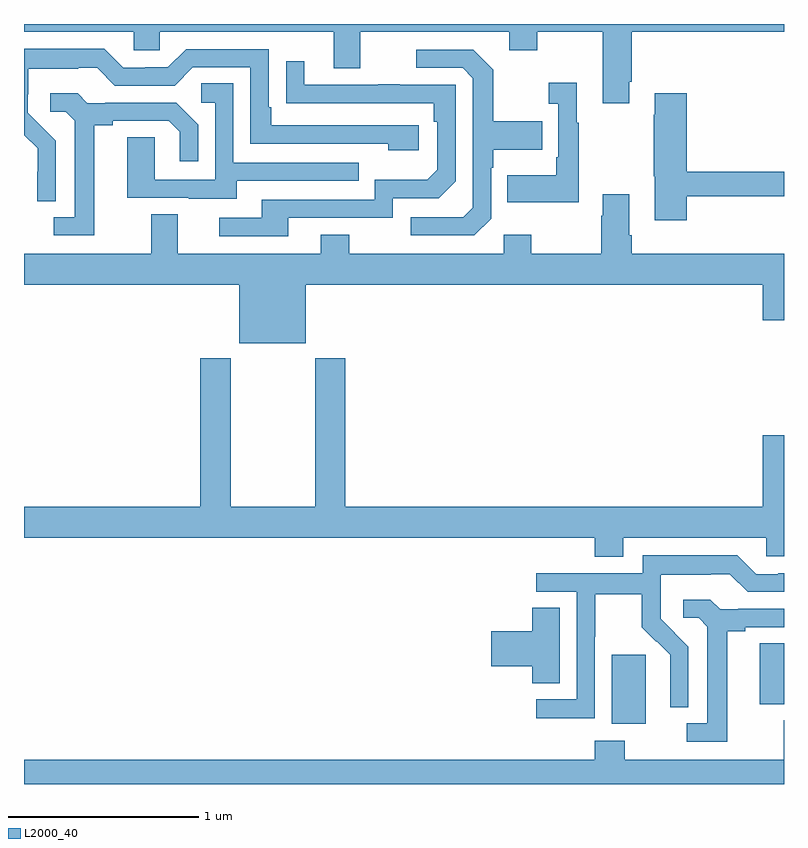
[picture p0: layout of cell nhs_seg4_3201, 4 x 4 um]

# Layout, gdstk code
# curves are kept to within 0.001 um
import gdstk
lib = gdstk.Library(unit=1e-6, precision=1e-09)
def R(c, l, rs):  # rectangles x0, y0, x1, y1
    for r in rs: c.add(gdstk.rectangle(r[:2], r[2:], *l))
def P(c, l, *ps):  # polygons
    for p in ps: c.add(gdstk.Polygon(p, *l))
L2000_40 = (2000, 40)

nhs_seg4_3201 = lib.new_cell('nhs_seg4_3201')
R(nhs_seg4_3201, L2000_40, [(284.093,753.218,284.272,753.579), (284.873,753.321,285,753.641)])
P(nhs_seg4_3201, L2000_40, [(284.185,756.595),(284.198,756.595),(284.198,756.86),(285,756.86),(285,756.9),(281,756.9),(281,756.86),(281.577,756.86),(281.577,756.762),(281.715,756.762),(281.715,756.86),(282.629,756.86),(282.629,756.666),(282.769,756.666),(282.769,756.86),(283.553,756.86),(283.553,756.761),(283.701,756.761),(283.701,756.86),(284.045,756.86),(284.045,756.483),(284.185,756.483)],
  [(281.166,756.286),(281.02,756.434),(281.02,756.531),(281.022,756.531),(281.022,756.665),(281.285,756.665),(281.285,756.669),(281.385,756.669),(281.478,756.576),(281.793,756.576),(281.889,756.672),(282.192,756.672),(282.192,756.27),(282.917,756.27),(282.917,756.236),(283.078,756.236),(283.078,756.366),(282.301,756.366),(282.301,756.463),(282.288,756.463),(282.288,756.768),(281.853,756.768),(281.757,756.672),(281.639,756.672),(281.639,756.669),(281.523,756.669),(281.423,756.769),(281,756.769),(281,756.314),(281.001,756.315),(281.072,756.245),(281.072,756.122),(281.07,756.122),(281.07,755.968),(281.166,755.968)],
  [(283.458,755.874),(283.458,756.143),(283.471,756.143),(283.471,756.239),(283.727,756.239),(283.727,756.387),(283.471,756.387),(283.471,756.659),(283.365,756.765),(283.065,756.765),(283.065,756.669),(283.308,756.669),(283.362,756.615),(283.362,755.934),(283.311,755.883),(283.035,755.883),(283.035,755.787),(283.371,755.787)],
  [(282.391,755.88),(282.942,755.88),(282.942,755.982),(283.182,755.982),(283.272,756.072),(283.272,756.579),(282.977,756.579),(282.977,756.584),(282.865,756.584),(282.865,756.579),(282.475,756.579),(282.475,756.703),(282.379,756.703),(282.379,756.484),(283.156,756.483),(283.156,756.386),(283.176,756.386),(283.176,756.132),(283.123,756.079),(282.846,756.079),(282.846,755.976),(282.251,755.976),(282.251,755.88),(282.027,755.88),(282.027,755.784),(282.391,755.784)],
  [(283.921,756.379),(283.909,756.379),(283.909,756.592),(283.761,756.592),(283.761,756.479),(283.812,756.479),(283.812,756.199),(283.8,756.199),(283.8,756.103),(283.543,756.103),(283.543,755.963),(283.921,755.963)],
  [(282.121,756.075),(282.761,756.075),(282.761,756.171),(282.102,756.171),(282.102,756.587),(281.934,756.587),(281.934,756.486),(282.006,756.486),(282.006,756.081),(281.688,756.081),(281.688,756.305),(281.543,756.305),(281.543,755.985),(281.867,755.985),(281.867,755.981),(282.121,755.981)],
  [(284.489,755.994),(285,755.994),(285,756.122),(284.489,756.122),(284.489,756.535),(284.321,756.535),(284.321,756.422),(284.314,756.422),(284.314,756.099),(284.321,756.099),(284.321,755.868),(284.489,755.868)],
  [(281.371,756.368),(281.467,756.368),(281.467,756.39),(281.762,756.39),(281.819,756.333),(281.819,756.177),(281.916,756.177),(281.916,756.37),(281.8,756.486),(281.428,756.486),(281.428,756.483),(281.334,756.483),(281.282,756.535),(281.139,756.535),(281.139,756.438),(281.22,756.438),(281.267,756.391),(281.267,755.883),(281.157,755.883),(281.157,755.787),(281.371,755.787)],
  [(282.484,755.528),(284.888,755.528),(284.888,755.34),(285,755.34),(285,755.692),(284.198,755.692),(284.198,755.788),(284.185,755.788),(284.185,756.004),(284.045,756.004),(284.045,755.891),(284.038,755.891),(284.038,755.692),(283.671,755.692),(283.671,755.791),(283.524,755.791),(283.524,755.692),(282.711,755.692),(282.711,755.791),(282.563,755.791),(282.563,755.692),(281.809,755.692),(281.809,755.9),(281.669,755.9),(281.669,755.692),(281,755.692),(281,755.528),(282.134,755.528),(282.134,755.219),(282.484,755.219)],
  [(284.155,754.196),(284.907,754.196),(284.907,754.098),(285,754.098),(285,754.735),(284.888,754.735),(284.888,754.36),(282.692,754.36),(282.692,755.14),(282.532,755.14),(282.532,754.36),(282.087,754.36),(282.087,755.14),(281.927,755.14),(281.927,754.36),(281,754.36),(281,754.196),(284.003,754.196),(284.003,754.097),(284.155,754.097)],
  [(283.908,753.912),(283.908,753.345),(283.695,753.345),(283.695,753.247),(284.004,753.247),(284.004,753.676),(284.007,753.676),(284.007,753.9),(284.251,753.9),(284.251,753.725),(284.328,753.648),(284.331,753.651),(284.402,753.581),(284.402,753.458),(284.4,753.458),(284.4,753.304),(284.496,753.304),(284.496,753.622),(284.35,753.77),(284.35,753.867),(284.352,753.867),(284.352,754.001),(284.615,754.001),(284.615,754.005),(284.715,754.005),(284.808,753.912),(285,753.912),(285,754.008),(284.969,754.008),(284.969,754.005),(284.853,754.005),(284.753,754.105),(284.256,754.105),(284.256,754.008),(283.695,754.008),(283.695,753.912)],
  [(284.701,753.704),(284.797,753.704),(284.797,753.726),(285,753.726),(285,753.822),(284.758,753.822),(284.758,753.819),(284.664,753.819),(284.612,753.871),(284.469,753.871),(284.469,753.774),(284.55,753.774),(284.597,753.727),(284.597,753.219),(284.487,753.219),(284.487,753.123),(284.701,753.123)],
  [(283.819,753.827),(283.676,753.827),(283.676,753.704),(283.458,753.704),(283.458,753.521),(283.676,753.521),(283.676,753.43),(283.819,753.43)],
  [(285,753.236),(284.999,753.236),(284.999,753.028),(284.163,753.028),(284.163,753.127),(284.003,753.127),(284.003,753.028),(281,753.028),(281,752.9),(285,752.9)])

lib.write_gds('nhs_seg4_3201.gds')
